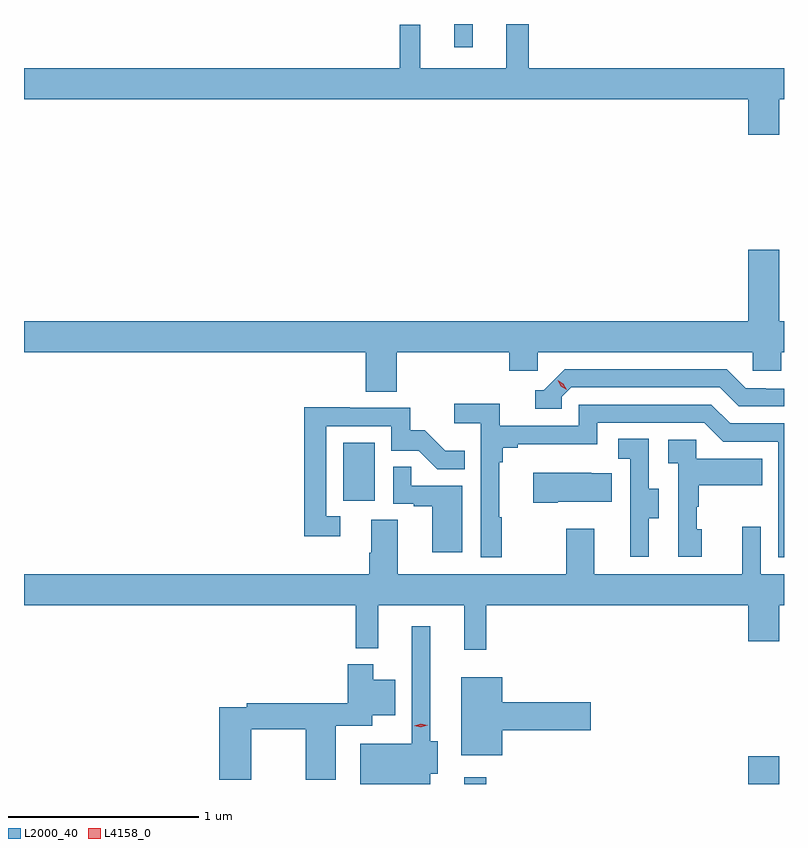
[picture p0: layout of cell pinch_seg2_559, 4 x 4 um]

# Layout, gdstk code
import gdstk
lib = gdstk.Library(unit=1e-6, precision=1e-09)
def R(c, l, rs):  # rectangles x0, y0, x1, y1
    for r in rs: c.add(gdstk.rectangle(r[:2], r[2:], *l))
def P(c, l, *ps):  # polygons
    for p in ps: c.add(gdstk.Polygon(p, *l))
L2000_40 = (2000, 40)
L4158_0 = (4158, 0)

pinch_seg2_559 = lib.new_cell('pinch_seg2_559')
R(pinch_seg2_559, L2000_40, [(1098.578,608.068,1098.695,608.104), (1100.072,608.068,1100.236,608.215), (1097.942,609.558,1098.106,609.865), (1098.525,611.946,1098.622,612.068)])
P(pinch_seg2_559, L2000_40, [(1100.236,611.672),(1100.261,611.672),(1100.261,611.836),(1098.917,611.836),(1098.917,612.068),(1098.8,612.068),(1098.8,611.836),(1098.347,611.836),(1098.347,612.065),(1098.238,612.065),(1098.238,611.836),(1096.261,611.836),(1096.261,611.672),(1100.072,611.672),(1100.072,611.484),(1100.236,611.484)],
  [(1098.224,610.34),(1098.815,610.34),(1098.815,610.242),(1098.966,610.242),(1098.966,610.34),(1100.097,610.34),(1100.097,610.242),(1100.247,610.242),(1100.247,610.34),(1100.261,610.34),(1100.261,610.504),(1100.236,610.504),(1100.236,610.879),(1100.072,610.879),(1100.072,610.504),(1096.261,610.504),(1096.261,610.34),(1098.059,610.34),(1098.059,610.132),(1098.224,610.132)],
  [(1099.092,610.107),(1099.14,610.155),(1099.923,610.155),(1100.022,610.056),(1100.261,610.056),(1100.261,610.149),(1100.166,610.149),(1100.166,610.152),(1100.059,610.152),(1099.96,610.251),(1099.107,610.251),(1098.996,610.14),(1098.953,610.14),(1098.953,610.044),(1099.092,610.044)],
  [(1098.775,609.473),(1098.763,609.473),(1098.763,609.761),(1098.782,609.761),(1098.782,609.838),(1098.859,609.838),(1098.859,609.857),(1099.278,609.857),(1099.278,609.969),(1099.842,609.969),(1099.941,609.87),(1100.232,609.87),(1100.232,609.261),(1100.261,609.261),(1100.261,609.966),(1099.978,609.966),(1099.879,610.065),(1099.182,610.065),(1099.182,609.954),(1098.764,609.954),(1098.764,610.07),(1098.525,610.07),(1098.525,609.968),(1098.666,609.968),(1098.666,609.261),(1098.775,609.261)],
  [(1097.926,609.477),(1097.853,609.477),(1097.853,609.951),(1098.195,609.951),(1098.195,609.822),(1098.339,609.822),(1098.437,609.724),(1098.581,609.724),(1098.581,609.823),(1098.477,609.823),(1098.37,609.93),(1098.294,609.93),(1098.294,610.047),(1097.975,610.047),(1097.975,610.052),(1097.737,610.052),(1097.737,609.372),(1097.926,609.372)],
  [(1099.549,609.466),(1099.603,609.466),(1099.603,609.621),(1099.548,609.621),(1099.548,609.884),(1099.389,609.884),(1099.389,609.781),(1099.452,609.781),(1099.452,609.477),(1099.451,609.477),(1099.451,609.264),(1099.549,609.264)],
  [(1099.828,609.408),(1099.803,609.408),(1099.803,609.527),(1099.813,609.527),(1099.813,609.641),(1100.147,609.641),(1100.147,609.781),(1099.8,609.781),(1099.8,609.879),(1099.653,609.879),(1099.653,609.755),(1099.704,609.755),(1099.704,609.264),(1099.828,609.264)],
  [(1098.568,609.639),(1098.299,609.639),(1098.299,609.737),(1098.204,609.737),(1098.204,609.543),(1098.311,609.543),(1098.311,609.531),(1098.41,609.531),(1098.41,609.288),(1098.568,609.288)],
  [(1099.069,609.554),(1099.355,609.554),(1099.355,609.703),(1099.247,609.703),(1099.247,609.706),(1098.941,609.706),(1098.941,609.547),(1099.069,609.547)],
  [(1098.695,609.008),(1100.072,609.008),(1100.072,608.82),(1100.236,608.82),(1100.236,609.008),(1100.261,609.008),(1100.261,609.172),(1100.139,609.172),(1100.139,609.421),(1100.042,609.421),(1100.042,609.172),(1099.261,609.172),(1099.261,609.412),(1099.114,609.412),(1099.114,609.172),(1098.229,609.172),(1098.229,609.458),(1098.089,609.458),(1098.089,609.284),(1098.077,609.284),(1098.077,609.172),(1096.261,609.172),(1096.261,609.008),(1098.007,609.008),(1098.007,608.783),(1098.125,608.783),(1098.125,609.008),(1098.578,609.008),(1098.578,608.775),(1098.695,608.775)],
  [(1098.4,608.123),(1098.439,608.123),(1098.439,608.294),(1098.4,608.294),(1098.4,608.899),(1098.303,608.899),(1098.303,608.281),(1098.03,608.281),(1098.03,608.068),(1098.4,608.068)],
  [(1097.458,608.356),(1097.744,608.356),(1097.744,608.091),(1097.902,608.091),(1097.902,608.375),(1098.094,608.375),(1098.094,608.429),(1098.214,608.429),(1098.214,608.617),(1098.1,608.617),(1098.1,608.698),(1097.966,608.698),(1097.966,608.492),(1097.434,608.492),(1097.434,608.472),(1097.288,608.472),(1097.288,608.091),(1097.458,608.091)],
  [(1098.778,608.351),(1099.243,608.351),(1099.243,608.498),(1098.778,608.498),(1098.778,608.629),(1098.563,608.629),(1098.563,608.219),(1098.778,608.219)])
P(pinch_seg2_559, L4158_0, [(1098.35,608.366),(1098.315,608.375),(1098.315,608.375),(1098.315,608.375),(1098.35,608.386),(1098.386,608.377),(1098.386,608.377),(1098.386,608.376)],
  [(1099.117,610.142),(1099.086,610.161),(1099.069,610.193),(1099.069,610.193),(1099.069,610.193),(1099.1,610.174),(1099.117,610.142),(1099.117,610.142)])

lib.write_gds('pinch_seg2_559.gds')
